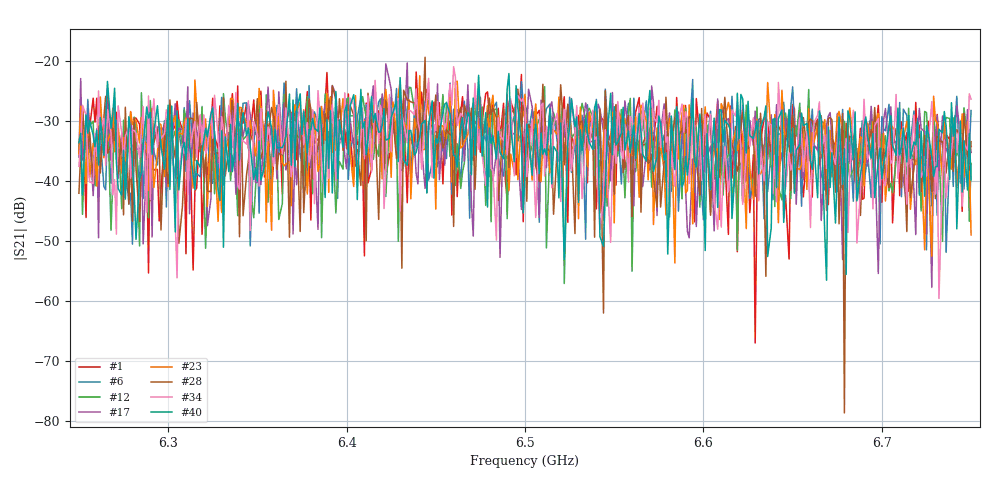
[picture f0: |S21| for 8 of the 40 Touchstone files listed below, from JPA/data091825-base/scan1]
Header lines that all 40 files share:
# Hz S RI R 50
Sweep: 6.25 GHz to 6.75 GHz
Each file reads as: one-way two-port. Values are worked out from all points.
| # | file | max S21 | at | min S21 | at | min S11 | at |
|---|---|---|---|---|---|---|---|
| 1 | trace0.s2p | -21.85 dB | 6.439 GHz | -67.0 dB | 6.629 GHz | -3.6 dB | 6.646 GHz |
| 2 | trace1.s2p | -23.93 dB | 6.441 GHz | -62.3 dB | 6.408 GHz | -3.2 dB | 6.648 GHz |
| 3 | trace2.s2p | -22.76 dB | 6.382 GHz | -55.7 dB | 6.431 GHz | -3.4 dB | 6.64 GHz |
| 4 | trace3.s2p | -21.53 dB | 6.484 GHz | -60.9 dB | 6.685 GHz | -3.3 dB | 6.646 GHz |
| 5 | trace4.s2p | -23.59 dB | 6.381 GHz | -70.2 dB | 6.67 GHz | -3.2 dB | 6.66 GHz |
| 6 | trace5.s2p | -23.11 dB | 6.594 GHz | -51.9 dB | 6.736 GHz | -3.6 dB | 6.636 GHz |
| 7 | trace6.s2p | -22.24 dB | 6.458 GHz | -56.1 dB | 6.391 GHz | -3.4 dB | 6.66 GHz |
| 8 | trace7.s2p | -22.57 dB | 6.438 GHz | -64.2 dB | 6.631 GHz | -3.3 dB | 6.651 GHz |
| 9 | trace8.s2p | -21.83 dB | 6.401 GHz | -56.1 dB | 6.366 GHz | -3.6 dB | 6.674 GHz |
| 10 | trace9.s2p | -21.64 dB | 6.486 GHz | -59.4 dB | 6.411 GHz | -3.2 dB | 6.675 GHz |
| 11 | trace10.s2p | -22.66 dB | 6.44 GHz | -61.2 dB | 6.592 GHz | -3.3 dB | 6.678 GHz |
| 12 | trace11.s2p | -24.30 dB | 6.511 GHz | -57.1 dB | 6.522 GHz | -3.2 dB | 6.678 GHz |
| 13 | trace12.s2p | -21.06 dB | 6.458 GHz | -57.4 dB | 6.619 GHz | -3.6 dB | 6.686 GHz |
| 14 | trace13.s2p | -20.51 dB | 6.452 GHz | -56.4 dB | 6.326 GHz | -3.5 dB | 6.645 GHz |
| 15 | trace14.s2p | -22.27 dB | 6.434 GHz | -56.0 dB | 6.282 GHz | -3.4 dB | 6.659 GHz |
| 16 | trace15.s2p | -22.96 dB | 6.364 GHz | -59.0 dB | 6.415 GHz | -3.4 dB | 6.662 GHz |
| 17 | trace16.s2p | -20.36 dB | 6.434 GHz | -57.7 dB | 6.728 GHz | -3.6 dB | 6.68 GHz |
| 18 | trace17.s2p | -22.70 dB | 6.436 GHz | -81.9 dB | 6.576 GHz | -3.7 dB | 6.674 GHz |
| 19 | trace18.s2p | -22.21 dB | 6.442 GHz | -55.5 dB | 6.334 GHz | -4.3 dB | 6.688 GHz |
| 20 | trace19.s2p | -21.66 dB | 6.455 GHz | -61.1 dB | 6.702 GHz | -4.6 dB | 6.729 GHz |
| 21 | trace20.s2p | -22.59 dB | 6.394 GHz | -58.8 dB | 6.666 GHz | -4.1 dB | 6.75 GHz |
| 22 | trace21.s2p | -22.78 dB | 6.531 GHz | -73.7 dB | 6.372 GHz | -3.3 dB | 6.741 GHz |
| 23 | trace22.s2p | -22.49 dB | 6.441 GHz | -53.7 dB | 6.584 GHz | -3.3 dB | 6.631 GHz |
| 24 | trace23.s2p | -20.56 dB | 6.454 GHz | -58.6 dB | 6.668 GHz | -3.4 dB | 6.64 GHz |
| 25 | trace24.s2p | -23.01 dB | 6.471 GHz | -52.2 dB | 6.288 GHz | -3.4 dB | 6.668 GHz |
| 26 | trace25.s2p | -21.92 dB | 6.628 GHz | -58.9 dB | 6.591 GHz | -3.7 dB | 6.632 GHz |
| 27 | trace26.s2p | -21.57 dB | 6.416 GHz | -55.6 dB | 6.274 GHz | -3.4 dB | 6.652 GHz |
| 28 | trace27.s2p | -19.40 dB | 6.444 GHz | -78.7 dB | 6.679 GHz | -3.7 dB | 6.625 GHz |
| 29 | trace28.s2p | -23.37 dB | 6.448 GHz | -60.3 dB | 6.582 GHz | -3.4 dB | 6.63 GHz |
| 30 | trace29.s2p | -21.52 dB | 6.476 GHz | -53.8 dB | 6.394 GHz | -3.3 dB | 6.619 GHz |
| 31 | trace30.s2p | -22.84 dB | 6.422 GHz | -58.8 dB | 6.631 GHz | -3.2 dB | 6.664 GHz |
| 32 | trace31.s2p | -22.82 dB | 6.252 GHz | -71.0 dB | 6.576 GHz | -3.6 dB | 6.659 GHz |
| 33 | trace32.s2p | -21.82 dB | 6.41 GHz | -57.3 dB | 6.388 GHz | -3.2 dB | 6.639 GHz |
| 34 | trace33.s2p | -20.97 dB | 6.46 GHz | -59.6 dB | 6.732 GHz | -3.5 dB | 6.638 GHz |
| 35 | trace34.s2p | -21.44 dB | 6.426 GHz | -57.0 dB | 6.73 GHz | -3.4 dB | 6.639 GHz |
| 36 | trace35.s2p | -21.55 dB | 6.275 GHz | -55.8 dB | 6.651 GHz | -3.3 dB | 6.644 GHz |
| 37 | trace36.s2p | -21.93 dB | 6.418 GHz | -54.4 dB | 6.732 GHz | -3.3 dB | 6.678 GHz |
| 38 | trace37.s2p | -21.94 dB | 6.434 GHz | -67.8 dB | 6.302 GHz | -3.1 dB | 6.664 GHz |
| 39 | trace38.s2p | -21.77 dB | 6.409 GHz | -58.9 dB | 6.335 GHz | -3.2 dB | 6.664 GHz |
| 40 | trace39.s2p | -22.11 dB | 6.491 GHz | -56.5 dB | 6.669 GHz | -3.2 dB | 6.672 GHz |
